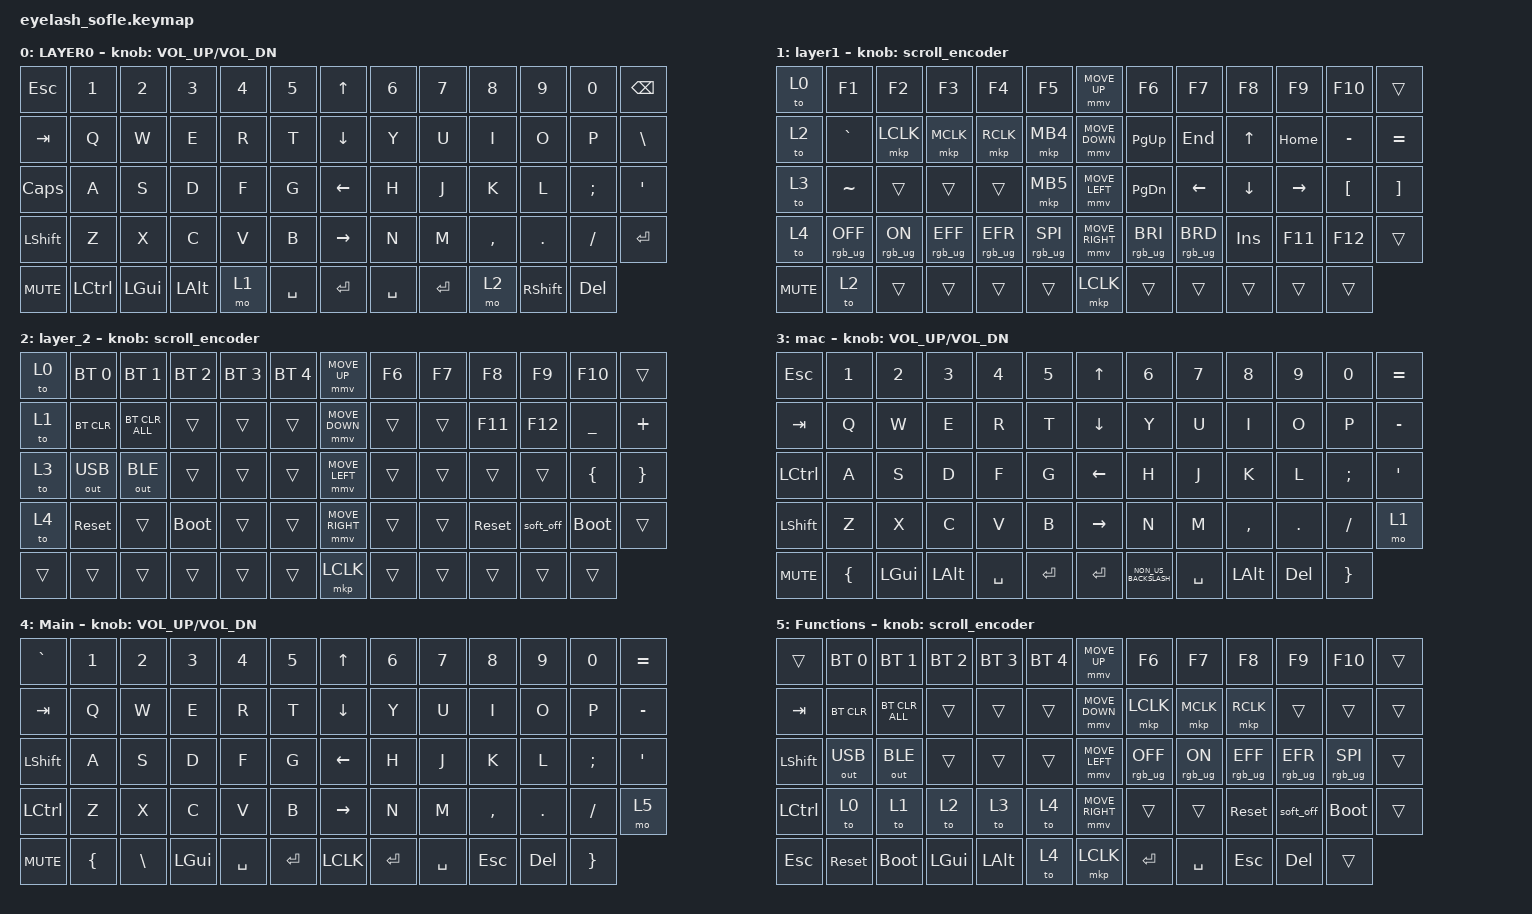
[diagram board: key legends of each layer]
#define ZMK_POINTING_DEFAULT_MOVE_VAL 1200  // 600
#define ZMK_POINTING_DEFAULT_SCRL_VAL 35    // 10

#include <input/processors.dtsi>
#include <zephyr/dt-bindings/input/input-event-codes.h>
#include <behaviors.dtsi>
#include <dt-bindings/zmk/bt.h>
#include <dt-bindings/zmk/keys.h>
#include <dt-bindings/zmk/outputs.h>
#include <dt-bindings/zmk/pointing.h>
#include <dt-bindings/zmk/pointing.h>
#include <dt-bindings/zmk/pointing.h>
#include <dt-bindings/zmk/rgb.h>

/ {
    zip_scroll_scaler: zip_scroll_scaler {
        compatible = "zmk,input-processor-scaler";
        #input-processor-cells = <2>;
        type = <INPUT_EV_REL>;
        codes = <INPUT_REL_WHEEL INPUT_REL_HWHEEL>;
        track-remainders;
    };
};

&mmv_input_listener { input-processors = <&zip_xy_scaler 2 1>; };

&msc_input_listener { input-processors = <&zip_scroll_scaler 2 1>; };

&msc {
    acceleration-exponent = <0>;      // 0
    time-to-max-speed-ms = <0>;       // 300
    delay-ms = <0>;                   // 0
};

&mmv {
    time-to-max-speed-ms = <400>;
    acceleration-exponent = <1>;
};

/ {
    scroll_encoder: scroll_encoder {
        compatible = "zmk,behavior-sensor-rotate";
        #sensor-binding-cells = <0>;
        bindings = <&msc SCRL_DOWN>, <&msc SCRL_UP>;

        tap-ms = <30>;
    };

    behaviors {
    };

    keymap {
        compatible = "zmk,keymap";

        layer0 {
            bindings = <
&kp ESC     &kp N1     &kp N2        &kp N3        &kp N4  &kp N5       &kp UP_ARROW     &kp N6     &kp N7     &kp N8     &kp N9           &kp N0      &kp BACKSPACE
&kp TAB     &kp Q      &kp W         &kp E         &kp R   &kp T        &kp DOWN_ARROW   &kp Y      &kp U      &kp I      &kp O            &kp P       &kp BSLH
&kp CAPS    &kp A      &kp S         &kp D         &kp F   &kp G        &kp LEFT_ARROW   &kp H      &kp J      &kp K      &kp L            &kp SEMI    &kp APOS
&kp LSHFT   &kp Z      &kp X         &kp C         &kp V   &kp B        &kp RIGHT_ARROW  &kp N      &kp M      &kp COMMA  &kp DOT          &kp FSLH    &kp ENTER
&kp C_MUTE  &kp LCTRL  &kp LEFT_GUI  &kp LEFT_ALT  &mo 1   &kp SPACE    &kp ENTER        &kp SPACE  &kp ENTER  &mo 2      &kp RIGHT_SHIFT  &kp DELETE
            >;

            sensor-bindings = <&inc_dec_kp C_VOLUME_UP C_VOL_DN>;
            display-name = "LAYER0";
        };

        layer_1 {
            bindings = <
&to 0   &kp F1           &kp F2          &kp F3           &kp F4           &kp F5             &mmv MOVE_UP     &kp F6           &kp F7           &kp F8      &kp F9     &kp F10           &trans
&to 2       &kp GRAVE        &mkp LCLK       &mkp MCLK        &mkp RCLK        &mkp MB4           &mmv MOVE_DOWN   &kp PG_UP        &kp END          &kp UP      &kp HOME   &kp MINUS         &kp EQUAL
&to 3       &kp TILDE        &trans          &trans           &trans           &mkp MB5           &mmv MOVE_LEFT   &kp PG_DN        &kp LEFT         &kp DOWN    &kp RIGHT  &kp LEFT_BRACKET  &kp RIGHT_BRACKET
&to 4       &rgb_ug RGB_OFF  &rgb_ug RGB_ON  &rgb_ug RGB_EFF  &rgb_ug RGB_EFR  &rgb_ug RGB_SPI    &mmv MOVE_RIGHT  &rgb_ug RGB_BRI  &rgb_ug RGB_BRD  &kp INSERT  &kp F11    &kp F12           &trans
&kp C_MUTE  &to 2            &trans          &trans           &trans           &trans             &mkp LCLK        &trans           &trans           &trans      &trans     &trans
            >;

            display-name = "layer1";
            sensor-bindings = <&scroll_encoder>;
        };

        layer_2 {
            bindings = <
&to 0  &bt BT_SEL 0  &bt BT_SEL 1    &bt BT_SEL 2  &bt BT_SEL 3  &bt BT_SEL 4    &mmv MOVE_UP     &kp F6  &kp F7  &kp F8      &kp F9     &kp F10      &trans
&to 1      &bt BT_CLR    &bt BT_CLR_ALL  &trans        &trans        &trans          &mmv MOVE_DOWN   &trans  &trans  &kp F11     &kp F12    &kp UNDER    &kp PLUS
&to 3      &out OUT_USB  &out OUT_BLE    &trans        &trans        &trans          &mmv MOVE_LEFT   &trans  &trans  &trans      &trans     &kp LBRC     &kp RBRC
&to 4      &sys_reset    &trans          &bootloader   &trans        &trans          &mmv MOVE_RIGHT  &trans  &trans  &sys_reset  &soft_off  &bootloader  &trans
&trans     &trans        &trans          &trans        &trans        &trans          &mkp LCLK        &trans  &trans  &trans      &trans     &trans
            >;

            sensor-bindings = <&scroll_encoder>;
        };

        mac3 {
            display-name = "mac";
            bindings = <
&kp ESC           &kp N1          &kp N2        &kp N3        &kp N4     &kp N5       &kp UP_ARROW     &kp N6                &kp N7     &kp N8        &kp N9      &kp N0           &kp EQUAL
&kp TAB           &kp Q           &kp W         &kp E         &kp R      &kp T        &kp DOWN_ARROW   &kp Y                 &kp U      &kp I         &kp O       &kp P            &kp MINUS
&kp LEFT_CONTROL  &kp A           &kp S         &kp D         &kp F      &kp G        &kp LEFT_ARROW   &kp H                 &kp J      &kp K         &kp L       &kp SEMI         &kp APOS
&kp LSHFT         &kp Z           &kp X         &kp C         &kp V      &kp B        &kp RIGHT_ARROW  &kp N                 &kp M      &kp COMMA     &kp DOT     &kp FSLH         &mo 1
&kp C_MUTE        &kp LEFT_BRACE  &kp LEFT_GUI  &kp LEFT_ALT  &kp SPACE  &kp ENTER    &kp ENTER        &kp NON_US_BACKSLASH  &kp SPACE  &kp LEFT_ALT  &kp DELETE  &kp RIGHT_BRACE
            >;

            sensor-bindings = <&inc_dec_kp C_VOLUME_UP C_VOL_DN>;
        };
        Layer4 {
            display-name = "Main";
            bindings = <
&kp GRAVE         &kp N1          &kp N2        &kp N3        &kp N4     &kp N5       &kp UP_ARROW     &kp N6                &kp N7     &kp N8        &kp N9      &kp N0           &kp EQUAL
&kp TAB           &kp Q           &kp W         &kp E         &kp R      &kp T        &kp DOWN_ARROW   &kp Y                 &kp U      &kp I         &kp O       &kp P            &kp MINUS
&kp LSHFT         &kp A           &kp S         &kp D         &kp F      &kp G        &kp LEFT_ARROW   &kp H                 &kp J      &kp K         &kp L       &kp SEMI         &kp APOS
&kp LEFT_CONTROL  &kp Z           &kp X         &kp C         &kp V      &kp B        &kp RIGHT_ARROW  &kp N                 &kp M      &kp COMMA     &kp DOT     &kp FSLH         &mo 5
&kp C_MUTE        &kp LEFT_BRACE  &kp BSLH      &kp LEFT_GUI  &kp SPACE  &kp ENTER    &kp LCLK         &kp ENTER             &kp SPACE  &kp ESC       &kp DELETE  &kp RIGHT_BRACE
            >;

            sensor-bindings = <&inc_dec_kp C_VOLUME_UP C_VOL_DN>;
        };
        Layer5 {
            display-name = "Functions";
            bindings = <
&trans            &bt BT_SEL 0  &bt BT_SEL 1    &bt BT_SEL 2  &bt BT_SEL 3  &bt BT_SEL 4    &mmv MOVE_UP     &kp F6             &kp F7          &kp F8          &kp F9          &kp F10         &trans
&kp TAB           &bt BT_CLR    &bt BT_CLR_ALL  &trans        &trans        &trans          &mmv MOVE_DOWN   &mkp LCLK          &mkp MCLK       &mkp RCLK       &trans          &trans          &trans
&kp LSHFT         &out OUT_USB  &out OUT_BLE    &trans        &trans        &trans          &mmv MOVE_LEFT   &rgb_ug RGB_OFF    &rgb_ug RGB_ON  &rgb_ug RGB_EFF &rgb_ug RGB_EFR &rgb_ug RGB_SPI &trans
&kp LEFT_CONTROL  &to 0         &to 1           &to 2         &to 3         &to 4           &mmv MOVE_RIGHT  &trans             &trans          &sys_reset      &soft_off       &bootloader     &trans
&kp ESC           &sys_reset    &bootloader     &kp LEFT_GUI  &kp LEFT_ALT  &to 4           &mkp LCLK        &kp ENTER          &kp SPACE       &kp ESC         &kp DELETE      &trans
            >;

            sensor-bindings = <&scroll_encoder>;
        };
    };
};
